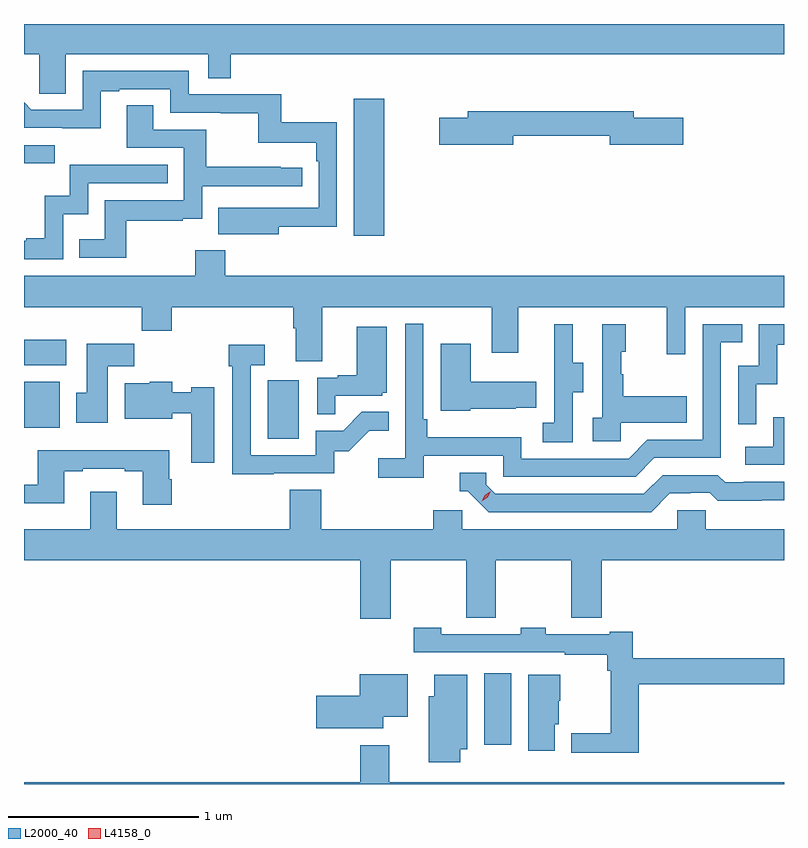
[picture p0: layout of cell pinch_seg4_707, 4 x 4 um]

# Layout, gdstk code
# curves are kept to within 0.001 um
import gdstk
lib = gdstk.Library(unit=1e-6, precision=1e-09)
def R(c, l, rs):  # rectangles x0, y0, x1, y1
    for r in rs: c.add(gdstk.rectangle(r[:2], r[2:], *l))
def P(c, l, *ps):  # polygons
    for p in ps: c.add(gdstk.Polygon(p, *l))
L2000_40 = (2000, 40)
L4158_0 = (4158, 0)

pinch_seg4_707 = lib.new_cell('pinch_seg4_707')
R(pinch_seg4_707, L2000_40, [(840.23,814.497,840.373,814.873), (839.09,816.108,839.254,816.415), (837.808,816.164,837.997,816.406), (837.808,816.494,838.03,816.628), (839.543,817.176,839.704,817.897), (837.808,817.556,837.97,817.653)])
P(pinch_seg4_707, L2000_40, [(838.027,818.132),(838.779,818.132),(838.779,818.005),(838.895,818.005),(838.895,818.132),(841.808,818.132),(841.808,818.29),(837.808,818.29),(837.808,818.132),(837.888,818.132),(837.888,817.924),(838.027,817.924)],
  [(839.149,817.222),(839.454,817.222),(839.454,817.774),(839.161,817.774),(839.161,817.92),(838.674,817.92),(838.674,818.043),(838.116,818.043),(838.116,817.839),(837.846,817.839),(837.808,817.877),(837.808,817.743),(838.213,817.742),(838.213,817.935),(838.309,817.935),(838.309,817.947),(838.578,817.947),(838.578,817.824),(838.843,817.824),(838.843,817.819),(839.04,817.819),(839.04,817.664),(839.345,817.664),(839.345,817.568),(839.358,817.568),(839.358,817.323),(838.831,817.324),(838.831,817.184),(839.149,817.184)],
  [(838.345,817.254),(838.643,817.254),(838.643,817.265),(838.746,817.265),(838.746,817.437),(839.272,817.437),(839.272,817.533),(839.159,817.533),(839.159,817.538),(838.766,817.538),(838.766,817.734),(838.489,817.734),(838.489,817.862),(838.349,817.862),(838.349,817.638),(838.65,817.638),(838.65,817.362),(838.234,817.362),(838.234,817.156),(838.099,817.156),(838.099,817.059),(838.345,817.059)],
  [(840.382,817.702),(840.89,817.702),(840.89,817.655),(841.279,817.655),(841.279,817.797),(841.018,817.797),(841.018,817.831),(840.143,817.831),(840.143,817.797),(839.994,817.797),(839.994,817.655),(840.382,817.655)],
  [(838.014,817.289),(838.146,817.289),(838.146,817.452),(838.565,817.452),(838.565,817.548),(838.05,817.548),(838.05,817.387),(837.917,817.387),(837.917,817.162),(837.821,817.162),(837.821,817.149),(837.808,817.149),(837.808,817.053),(838.014,817.053)],
  [(839.377,816.8),(840.269,816.8),(840.269,816.561),(840.409,816.561),(840.409,816.8),(841.19,816.8),(841.19,816.552),(841.287,816.552),(841.287,816.8),(841.808,816.8),(841.808,816.964),(838.868,816.964),(838.868,817.099),(838.708,817.099),(838.708,816.964),(837.808,816.964),(837.808,816.8),(838.429,816.8),(838.429,816.676),(838.586,816.676),(838.586,816.8),(839.225,816.8),(839.225,816.688),(839.237,816.688),(839.237,816.514),(839.377,816.514)],
  [(839.912,816.018),(840.33,816.018),(840.33,815.907),(841.027,815.907),(841.126,816.006),(841.476,816.006),(841.476,816.615),(841.589,816.615),(841.589,816.711),(841.38,816.711),(841.38,816.102),(841.089,816.102),(840.99,816.003),(840.426,816.003),(840.426,816.115),(839.93,816.115),(839.93,816.211),(839.91,816.211),(839.91,816.712),(839.814,816.712),(839.814,816.004),(839.673,816.004),(839.673,815.902),(839.912,815.902)],
  [(841.662,816.395),(841.772,816.395),(841.772,816.603),(841.808,816.603),(841.808,816.711),(841.674,816.711),(841.674,816.492),(841.566,816.492),(841.566,816.183),(841.662,816.183)],
  [(840.948,816.191),(841.295,816.191),(841.295,816.331),(840.961,816.331),(840.961,816.446),(840.951,816.446),(840.951,816.564),(840.976,816.564),(840.976,816.709),(840.852,816.709),(840.852,816.218),(840.801,816.218),(840.801,816.093),(840.948,816.093)],
  [(840.696,816.352),(840.751,816.352),(840.751,816.507),(840.697,816.507),(840.697,816.709),(840.599,816.709),(840.599,816.495),(840.6,816.495),(840.6,816.191),(840.537,816.191),(840.537,816.088),(840.696,816.088)],
  [(839.447,816.333),(839.694,816.333),(839.694,816.348),(839.716,816.348),(839.716,816.697),(839.558,816.697),(839.558,816.442),(839.459,816.442),(839.459,816.429),(839.352,816.429),(839.352,816.235),(839.447,816.235)],
  [(838.249,816.488),(838.388,816.488),(838.388,816.607),(838.139,816.607),(838.139,816.348),(838.082,816.348),(838.082,816.192),(838.249,816.192)],
  [(840.156,816.266),(840.395,816.266),(840.395,816.269),(840.503,816.269),(840.503,816.406),(840.16,816.406),(840.16,816.607),(840.002,816.607),(840.002,816.254),(840.156,816.254)],
  [(839.123,815.925),(839.442,815.925),(839.442,816.042),(839.518,816.042),(839.625,816.149),(839.729,816.149),(839.729,816.248),(839.585,816.248),(839.487,816.15),(839.343,816.15),(839.343,816.021),(839.001,816.021),(839.001,816.495),(839.074,816.495),(839.074,816.601),(838.885,816.601),(838.885,816.488),(838.905,816.488),(838.905,815.92),(839.123,815.92)],
  [(838.81,816.378),(838.688,816.378),(838.688,816.352),(838.588,816.352),(838.588,816.406),(838.47,816.406),(838.47,816.4),(838.337,816.4),(838.337,816.212),(838.588,816.212),(838.588,816.242),(838.688,816.242),(838.688,815.982),(838.81,815.982)],
  [(841.808,816.22),(841.752,816.22),(841.752,816.066),(841.605,816.066),(841.605,815.97),(841.808,815.97)],
  [(838.586,815.894),(838.573,815.894),(838.573,816.046),(837.881,816.046),(837.881,815.865),(837.808,815.865),(837.808,815.768),(838.021,815.768),(838.021,815.937),(838.117,815.937),(838.117,815.949),(838.337,815.949),(838.337,815.937),(838.433,815.937),(838.433,815.76),(838.586,815.76)],
  [(841.207,815.82),(841.314,815.82),(841.314,815.823),(841.417,815.823),(841.459,815.781),(841.692,815.781),(841.692,815.783),(841.808,815.783),(841.808,815.88),(841.597,815.88),(841.597,815.877),(841.498,815.877),(841.459,815.916),(841.17,815.916),(841.071,815.817),(840.288,815.817),(840.24,815.865),(840.24,815.928),(840.101,815.928),(840.101,815.832),(840.144,815.832),(840.255,815.721),(841.108,815.721)],
  [(839.739,815.468),(840.136,815.468),(840.136,815.164),(840.29,815.164),(840.29,815.468),(840.688,815.468),(840.688,815.164),(840.848,815.164),(840.848,815.468),(841.808,815.468),(841.808,815.632),(841.395,815.632),(841.395,815.73),(841.245,815.73),(841.245,815.632),(840.114,815.632),(840.114,815.73),(839.963,815.73),(839.963,815.632),(839.372,815.632),(839.372,815.84),(839.207,815.84),(839.207,815.632),(838.297,815.632),(838.297,815.827),(838.157,815.827),(838.157,815.632),(837.808,815.632),(837.808,815.468),(839.579,815.468),(839.579,815.16),(839.739,815.16)],
  [(841.043,814.816),(841.808,814.816),(841.808,814.952),(841.013,814.952),(841.013,815.092),(840.89,815.092),(840.89,815.079),(840.555,815.079),(840.555,815.112),(840.423,815.112),(840.423,815.079),(840.003,815.079),(840.003,815.112),(839.859,815.112),(839.859,814.983),(840.655,814.983),(840.655,814.971),(840.877,814.971),(840.877,814.886),(840.896,814.886),(840.896,814.556),(840.687,814.556),(840.687,814.454),(841.043,814.454)],
  [(839.698,814.643),(839.827,814.643),(839.827,814.867),(839.576,814.867),(839.576,814.754),(839.346,814.754),(839.346,814.583),(839.698,814.583)],
  [(840.601,814.605),(840.622,814.605),(840.622,814.728),(840.631,814.728),(840.631,814.864),(840.461,814.864),(840.461,814.464),(840.601,814.464)],
  [(840.105,814.472),(840.142,814.472),(840.142,814.864),(839.966,814.864),(839.966,814.752),(839.939,814.752),(839.939,814.404),(840.105,814.404)],
  [(841.808,814.3),(839.731,814.3),(839.731,814.495),(839.579,814.495),(839.579,814.3),(837.808,814.3),(837.808,814.29),(841.808,814.29)])
P(pinch_seg4_707, L4158_0, [(840.218,815.778),(840.218,815.778),(840.233,815.811),(840.264,815.831),(840.264,815.831),(840.264,815.83),(840.248,815.798),(840.218,815.778)])

lib.write_gds('pinch_seg4_707.gds')
